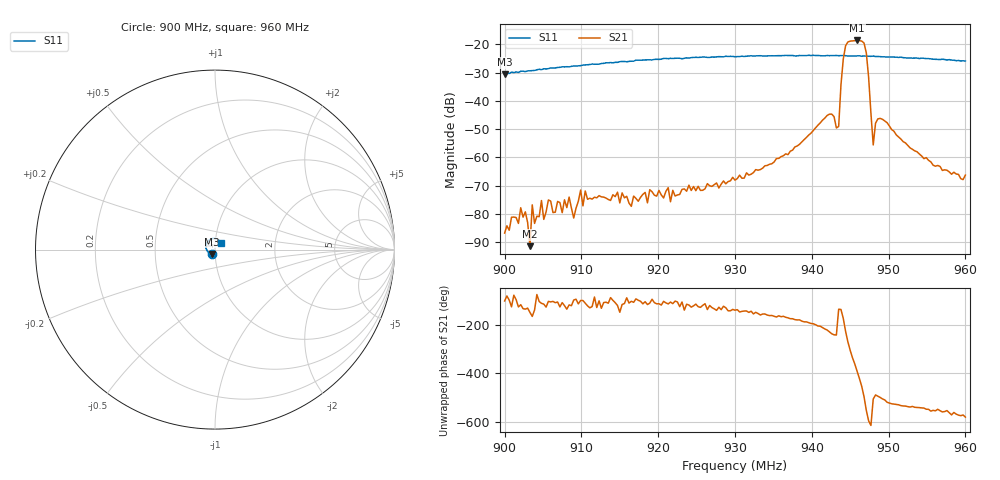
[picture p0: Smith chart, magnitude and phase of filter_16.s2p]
!File created by NanoVNA-F V2
# Hz S RI R 50
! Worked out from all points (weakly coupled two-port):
!   201 points, 900 MHz to 960 MHz, reference 50 ohm
!   highest |S21| = -18.64 dB at 945.9 MHz (marker M1); lowest = -91.4 dB at 903.3 MHz (marker M2)
!   lowest |S11| = -30.6 dB at 900 MHz (marker M3), VSWR 1.06, Z = 48.4 - j2.43 ohm
!   |S11| at or under -10 dB: start of sweep to end of sweep
!   S12 and S22 are empty: the file has one direction only
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9e8  -0.0154 -0.0251  -9e-06 -4.5e-05  0 0  0 0
9.033e8  -0.0256 -0.0224  -2.3e-05 -1.4e-05  0 0  0 0
9.084e8  -0.0378 -0.0123  -9.2e-05 -0.000176  0 0  0 0
9.09e8  -0.0399 -0.0111  -1.1e-05 -8.4e-05  0 0  0 0
9.099e8  -0.0409 -0.00902  -4.2e-05 -0.000261  0 0  0 0
9.102e8  -0.0419 -0.00877  -2.3e-05 -0.000137  0 0  0 0
9.105e8  -0.0422 -0.0087  -8.8e-05 -0.000239  0 0  0 0
9.165e8  -0.0495 0.00843  -3e-05 -0.000133  0 0  0 0
9.201e8  -0.0506 0.019  -0.000101 -0.00024  0 0  0 0
9.216e8  -0.0512 0.0237  -4.5e-05 -0.000158  0 0  0 0
9.3e8  -0.039 0.0458  -0.000301 -0.000257  0 0  0 0
9.402e8  -0.0157 0.0619  -0.00288 0.000805  0 0  0 0
9.423e8  -0.00807 0.0624  -0.00379 0.0044  0 0  0 0
9.435e8  -0.0053 0.0626  -0.00251 -0.00248  0 0  0 0
9.438e8  -0.00367 0.0631  -0.0141 -0.0133  0 0  0 0
9.444e8  -0.00222 0.0629  -0.0641 0.0691  0 0  0 0
9.459e8  0.00278 0.0624  0.0996 -0.0611  0 0  0 0
9.471e8  0.00618 0.0613  -0.0683 0.0172  0 0  0 0
9.48e8  0.00707 0.0615  -0.00139 -0.000907  0 0  0 0
9.486e8  0.0106 0.06  -0.00339 -0.00339  0 0  0 0
9.501e8  0.0138 0.0579  -0.00345 -0.00101  0 0  0 0
9.6e8  0.0346 0.0369  -0.000362 0.000324  0 0  0 0
